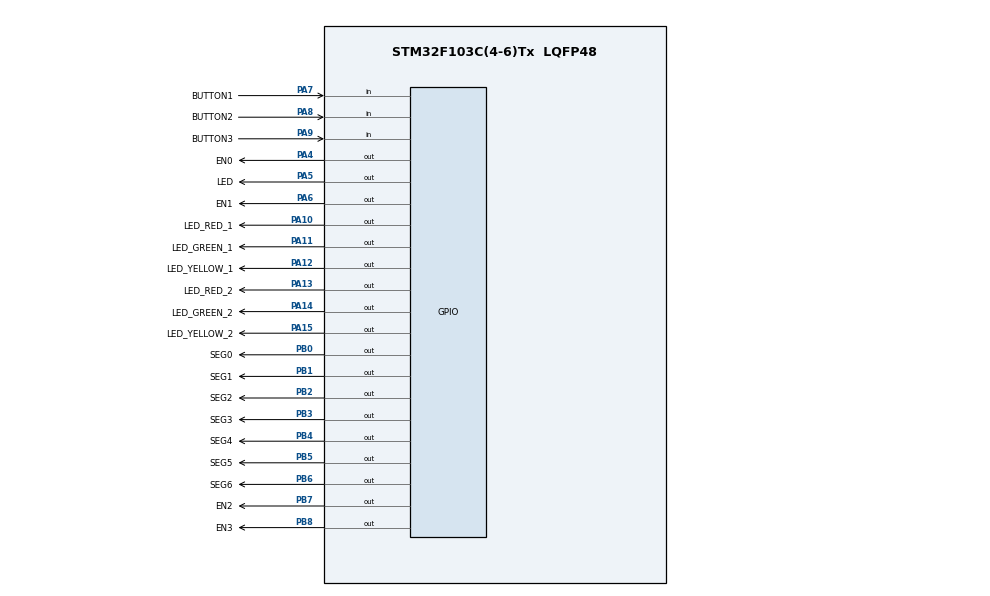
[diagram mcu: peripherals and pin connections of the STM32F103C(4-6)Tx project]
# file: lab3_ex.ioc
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Mcu.Family=STM32F1
Mcu.Name=STM32F103C(4-6)Tx
Mcu.Package=LQFP48
NVIC.PriorityGroup=NVIC_PRIORITYGROUP_4
NVIC.TIM2_IRQn=true\:0\:0\:false\:false\:true\:true\:true\:true
PA10.GPIO_Label=LED_RED_1
PA10.Signal=GPIO_Output
PA11.GPIO_Label=LED_GREEN_1
PA11.Signal=GPIO_Output
PA12.GPIO_Label=LED_YELLOW_1
PA12.Signal=GPIO_Output
PA13.GPIO_Label=LED_RED_2
PA13.Signal=GPIO_Output
PA14.GPIO_Label=LED_GREEN_2
PA14.Signal=GPIO_Output
PA15.GPIO_Label=LED_YELLOW_2
PA15.Signal=GPIO_Output
PA4.GPIO_Label=EN0
PA4.Signal=GPIO_Output
PA5.GPIO_Label=LED
PA5.Signal=GPIO_Output
PA6.GPIO_Label=EN1
PA6.Signal=GPIO_Output
PA7.GPIO_Label=BUTTON1
PA7.GPIO_PuPd=GPIO_PULLUP
PA7.Signal=GPIO_Input
PA8.GPIO_Label=BUTTON2
PA8.GPIO_PuPd=GPIO_PULLUP
PA8.Signal=GPIO_Input
PA9.GPIO_Label=BUTTON3
PA9.GPIO_PuPd=GPIO_PULLUP
PA9.Signal=GPIO_Input
PB0.GPIO_Label=SEG0
PB0.Signal=GPIO_Output
PB1.GPIO_Label=SEG1
PB1.Signal=GPIO_Output
PB2.GPIO_Label=SEG2
PB2.Signal=GPIO_Output
PB3.GPIO_Label=SEG3
PB3.Signal=GPIO_Output
PB4.GPIO_Label=SEG4
PB4.Signal=GPIO_Output
PB5.GPIO_Label=SEG5
PB5.Signal=GPIO_Output
PB6.GPIO_Label=SEG6
PB6.Signal=GPIO_Output
PB7.GPIO_Label=EN2
PB7.Signal=GPIO_Output
PB8.GPIO_Label=EN3
PB8.Signal=GPIO_Output
ProjectManager.HeapSize=0x200
ProjectManager.StackSize=0x400
ProjectManager.TargetToolchain=STM32CubeIDE
RCC.APB1Freq_Value=8000000
RCC.APB2Freq_Value=8000000
TIM2.Period=9
TIM2.Prescaler=7999
VP_TIM2_VS_ClockSourceINT.Mode=Internal
board=custom

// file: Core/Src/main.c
/* USER CODE BEGIN Header */
/**
  ******************************************************************************
  * @file           : main.c
  * @brief          : Main program body
  ******************************************************************************
  * @attention
  *
  * Copyright (c) 2023 STMicroelectronics.
  * All rights reserved.
  *
  * This software is licensed under terms that can be found in the LICENSE file
  * in the root directory of this software component.
  * If no LICENSE file comes with this software, it is provided AS-IS.
  *
  ******************************************************************************
  */
/* USER CODE END Header */
#include "main.h"

/* USER CODE BEGIN Includes */
#include "softwareTimer.h"
#include "button.h"
#include "global.h"
#include "fsm.h"
#include "code7seg.h"

/* USER CODE END Includes */

TIM_HandleTypeDef htim2;

void SystemClock_Config(void);
static void MX_GPIO_Init(void);
static void MX_TIM2_Init(void);

int main(void)
{

  /* MCU Configuration--------------------------------------------------------*/

  /* Reset of all peripherals, Initializes the Flash interface and the Systick. */
  HAL_Init();

  /* Configure the system clock */
  SystemClock_Config();

  /* Initialize all configured peripherals */
  MX_GPIO_Init();
  MX_TIM2_Init();
  /* USER CODE BEGIN 2 */
  HAL_TIM_Base_Start_IT(&htim2);
  /* USER CODE END 2 */

  /* Infinite loop */
  /* USER CODE BEGIN WHILE */
  setCycle(10);
  setTimer0(1000);
  setTimer1(1000);
  setTimer2(1000);
  setTimerBlinkMode(1000);
  setTime_counter_7seg(1000);
  while (1)
  {
	  if(flag0 == 1) {
		  HAL_GPIO_TogglePin(LED_GPIO_Port, LED_Pin);
		  setTimer0(1000);
	  }
	  fsmButton();
	  fsmled7seg();

    /* USER CODE END WHILE */

  }
}

void SystemClock_Config(void)
{
  RCC_OscInitTypeDef RCC_OscInitStruct = {0};
  RCC_ClkInitTypeDef RCC_ClkInitStruct = {0};

  /** Initializes the RCC Oscillators according to the specified parameters
  * in the RCC_OscInitTypeDef structure.
  */
  RCC_OscInitStruct.OscillatorType = RCC_OSCILLATORTYPE_HSI;
  RCC_OscInitStruct.HSIState = RCC_HSI_ON;
  RCC_OscInitStruct.HSICalibrationValue = RCC_HSICALIBRATION_DEFAULT;
  RCC_OscInitStruct.PLL.PLLState = RCC_PLL_NONE;
  if (HAL_RCC_OscConfig(&RCC_OscInitStruct) != HAL_OK)
  {
    Error_Handler();
  }

  /** Initializes the CPU, AHB and APB buses clocks
  */
  RCC_ClkInitStruct.ClockType = RCC_CLOCKTYPE_HCLK|RCC_CLOCKTYPE_SYSCLK
                              |RCC_CLOCKTYPE_PCLK1|RCC_CLOCKTYPE_PCLK2;
  RCC_ClkInitStruct.SYSCLKSource = RCC_SYSCLKSOURCE_HSI;
  RCC_ClkInitStruct.AHBCLKDivider = RCC_SYSCLK_DIV1;
  RCC_ClkInitStruct.APB1CLKDivider = RCC_HCLK_DIV1;
  RCC_ClkInitStruct.APB2CLKDivider = RCC_HCLK_DIV1;

  if (HAL_RCC_ClockConfig(&RCC_ClkInitStruct, FLASH_LATENCY_0) != HAL_OK)
  {
    Error_Handler();
  }
}

static void MX_TIM2_Init(void)
{

  TIM_ClockConfigTypeDef sClockSourceConfig = {0};
  TIM_MasterConfigTypeDef sMasterConfig = {0};

  htim2.Instance = TIM2;
  htim2.Init.Prescaler = 7999;
  htim2.Init.CounterMode = TIM_COUNTERMODE_UP;
  htim2.Init.Period = 9;
  htim2.Init.ClockDivision = TIM_CLOCKDIVISION_DIV1;
  htim2.Init.AutoReloadPreload = TIM_AUTORELOAD_PRELOAD_DISABLE;
  if (HAL_TIM_Base_Init(&htim2) != HAL_OK)
  {
    Error_Handler();
  }
  sClockSourceConfig.ClockSource = TIM_CLOCKSOURCE_INTERNAL;
  if (HAL_TIM_ConfigClockSource(&htim2, &sClockSourceConfig) != HAL_OK)
  {
    Error_Handler();
  }
  sMasterConfig.MasterOutputTrigger = TIM_TRGO_RESET;
  sMasterConfig.MasterSlaveMode = TIM_MASTERSLAVEMODE_DISABLE;
  if (HAL_TIMEx_MasterConfigSynchronization(&htim2, &sMasterConfig) != HAL_OK)
  {
    Error_Handler();
  }

}

static void MX_GPIO_Init(void)
{
  GPIO_InitTypeDef GPIO_InitStruct = {0};

  /* GPIO Ports Clock Enable */
  __HAL_RCC_GPIOA_CLK_ENABLE();
  __HAL_RCC_GPIOB_CLK_ENABLE();

  /*Configure GPIO pin Output Level */
  HAL_GPIO_WritePin(GPIOA, EN0_Pin|LED_Pin|EN1_Pin|LED_RED_1_Pin
                          |LED_GREEN_1_Pin|LED_YELLOW_1_Pin|LED_RED_2_Pin|LED_GREEN_2_Pin
                          |LED_YELLOW_2_Pin, GPIO_PIN_RESET);

  /*Configure GPIO pin Output Level */
  HAL_GPIO_WritePin(GPIOB, SEG0_Pin|SEG1_Pin|SEG2_Pin|SEG3_Pin
                          |SEG4_Pin|SEG5_Pin|SEG6_Pin|EN2_Pin
                          |EN3_Pin, GPIO_PIN_RESET);

  /*Configure GPIO pins : EN0_Pin LED_Pin EN1_Pin LED_RED_1_Pin
                           LED_GREEN_1_Pin LED_YELLOW_1_Pin LED_RED_2_Pin LED_GREEN_2_Pin
                           LED_YELLOW_2_Pin */
  GPIO_InitStruct.Pin = EN0_Pin|LED_Pin|EN1_Pin|LED_RED_1_Pin
                          |LED_GREEN_1_Pin|LED_YELLOW_1_Pin|LED_RED_2_Pin|LED_GREEN_2_Pin
                          |LED_YELLOW_2_Pin;
  GPIO_InitStruct.Mode = GPIO_MODE_OUTPUT_PP;
  GPIO_InitStruct.Pull = GPIO_NOPULL;
  GPIO_InitStruct.Speed = GPIO_SPEED_FREQ_LOW;
  HAL_GPIO_Init(GPIOA, &GPIO_InitStruct);

  /*Configure GPIO pins : BUTTON1_Pin BUTTON2_Pin BUTTON3_Pin */
  GPIO_InitStruct.Pin = BUTTON1_Pin|BUTTON2_Pin|BUTTON3_Pin;
  GPIO_InitStruct.Mode = GPIO_MODE_INPUT;
  GPIO_InitStruct.Pull = GPIO_PULLUP;
  HAL_GPIO_Init(GPIOA, &GPIO_InitStruct);

  /*Configure GPIO pins : SEG0_Pin SEG1_Pin SEG2_Pin SEG3_Pin
                           SEG4_Pin SEG5_Pin SEG6_Pin EN2_Pin
                           EN3_Pin */
  GPIO_InitStruct.Pin = SEG0_Pin|SEG1_Pin|SEG2_Pin|SEG3_Pin
                          |SEG4_Pin|SEG5_Pin|SEG6_Pin|EN2_Pin
                          |EN3_Pin;
  GPIO_InitStruct.Mode = GPIO_MODE_OUTPUT_PP;
  GPIO_InitStruct.Pull = GPIO_NOPULL;
  GPIO_InitStruct.Speed = GPIO_SPEED_FREQ_LOW;
  HAL_GPIO_Init(GPIOB, &GPIO_InitStruct);

}

/* USER CODE BEGIN 4 */
void HAL_TIM_PeriodElapsedCallback(TIM_HandleTypeDef *htim) {
	timerRun();
	getKeyInput1();
	getKeyInput2();
	getKeyInput3();
}
/* USER CODE END 4 */

void Error_Handler(void)
{
  __disable_irq();
  while (1)
  {
  }
}
